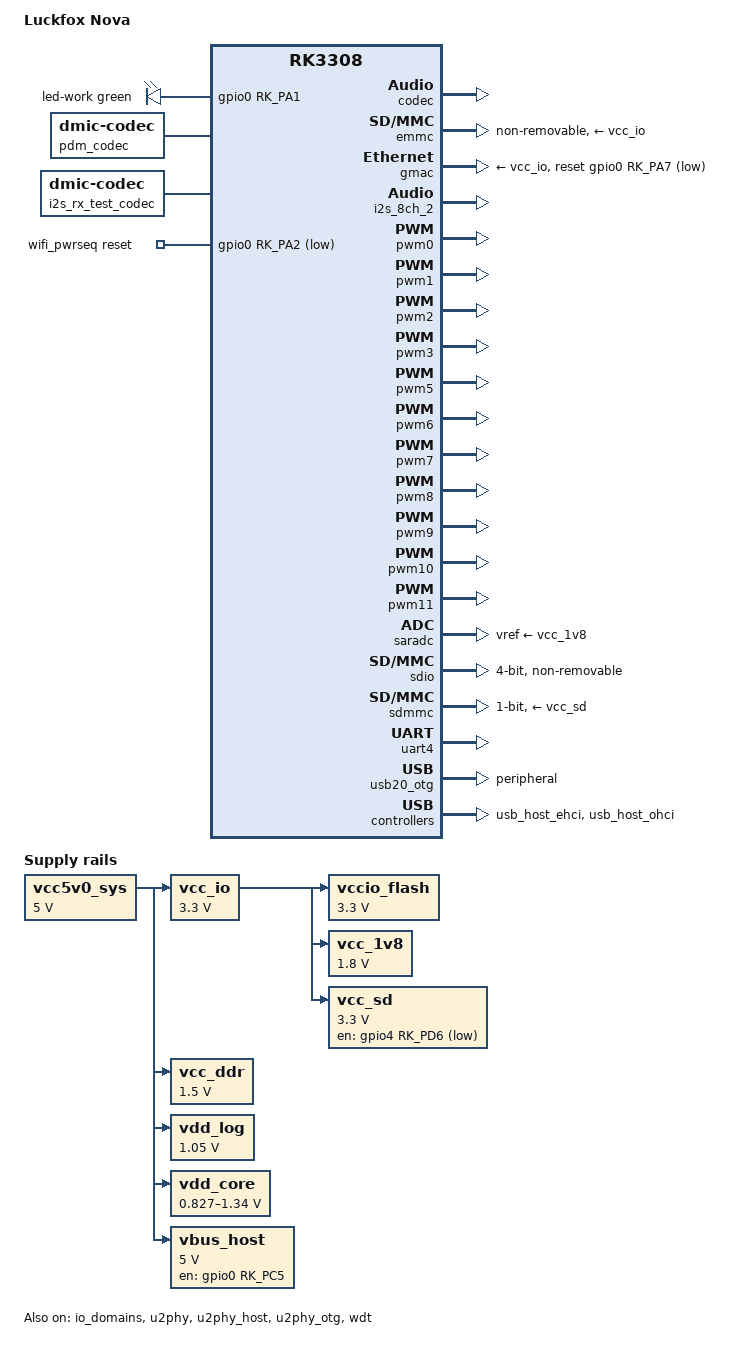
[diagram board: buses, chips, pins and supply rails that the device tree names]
// SPDX-License-Identifier: (GPL-2.0+ OR MIT)
/*
 * Luckfox Nova: RK3308B, 512MB DDR3, 8GB eMMC, 100M Ethernet (RTL8201F),
 * USB-C OTG + USB-A host, microSD. Debug console is UART4 (ttyS4).
 */

/dts-v1/;

#include <dt-bindings/leds/common.h>
#include "rk3308.dtsi"

/ {
	model = "Luckfox Nova";
	compatible = "luckfox,nova", "rockchip,rk3308";

	aliases {
		ethernet0 = &gmac;
		mmc0 = &emmc;
		mmc1 = &sdmmc;
	};

	chosen {
		stdout-path = "serial4:1500000n8";
	};

	leds {
		compatible = "gpio-leds";
		pinctrl-names = "default";
		pinctrl-0 = <&work_led_pin>;

		led-work {
			color = <LED_COLOR_ID_GREEN>;
			function = LED_FUNCTION_HEARTBEAT;
			gpios = <&gpio0 RK_PA1 GPIO_ACTIVE_HIGH>;
			linux,default-trigger = "heartbeat";
		};
	};

	vcc5v0_sys: regulator-5v0-vcc-sys {
		compatible = "regulator-fixed";
		regulator-name = "vcc5v0_sys";
		regulator-always-on;
		regulator-boot-on;
		regulator-min-microvolt = <5000000>;
		regulator-max-microvolt = <5000000>;
	};

	vcc_io: regulator-3v3-vcc-io {
		compatible = "regulator-fixed";
		regulator-name = "vcc_io";
		regulator-always-on;
		regulator-boot-on;
		regulator-min-microvolt = <3300000>;
		regulator-max-microvolt = <3300000>;
		vin-supply = <&vcc5v0_sys>;
	};

	vccio_flash: regulator-3v3-vccio-flash {
		compatible = "regulator-fixed";
		regulator-name = "vccio_flash";
		regulator-always-on;
		regulator-boot-on;
		regulator-min-microvolt = <3300000>;
		regulator-max-microvolt = <3300000>;
		vin-supply = <&vcc_io>;
	};

	vcc_1v8: regulator-1v8-vcc {
		compatible = "regulator-fixed";
		regulator-name = "vcc_1v8";
		regulator-always-on;
		regulator-boot-on;
		regulator-min-microvolt = <1800000>;
		regulator-max-microvolt = <1800000>;
		vin-supply = <&vcc_io>;
	};

	vcc_ddr: regulator-1v5-vcc-ddr {
		compatible = "regulator-fixed";
		regulator-name = "vcc_ddr";
		regulator-always-on;
		regulator-boot-on;
		regulator-min-microvolt = <1500000>;
		regulator-max-microvolt = <1500000>;
		vin-supply = <&vcc5v0_sys>;
	};

	vdd_log: regulator-1v05-vdd-log {
		compatible = "regulator-fixed";
		regulator-name = "vdd_log";
		regulator-always-on;
		regulator-boot-on;
		regulator-min-microvolt = <1050000>;
		regulator-max-microvolt = <1050000>;
		vin-supply = <&vcc5v0_sys>;
	};

	vdd_core: regulator-vdd-core {
		compatible = "pwm-regulator";
		pwms = <&pwm0 0 5000 1>;
		pwm-supply = <&vcc5v0_sys>;
		regulator-name = "vdd_core";
		regulator-always-on;
		regulator-boot-on;
		regulator-min-microvolt = <827000>;
		regulator-max-microvolt = <1340000>;
		regulator-settling-time-up-us = <250>;
	};

	/* GPIO4_D6 must be driven low to power the microSD slot. */
	vcc_sd: regulator-3v3-vcc-sd {
		compatible = "regulator-fixed";
		gpios = <&gpio4 RK_PD6 GPIO_ACTIVE_LOW>;
		pinctrl-names = "default";
		pinctrl-0 = <&vcc_sd_en>;
		regulator-name = "vcc_sd";
		regulator-always-on;
		regulator-boot-on;
		regulator-min-microvolt = <3300000>;
		regulator-max-microvolt = <3300000>;
		vin-supply = <&vcc_io>;
	};

	vbus_host: regulator-5v0-vbus-host {
		compatible = "regulator-fixed";
		enable-active-high;
		gpios = <&gpio0 RK_PC5 GPIO_ACTIVE_HIGH>;
		pinctrl-names = "default";
		pinctrl-0 = <&usb_drv>;
		regulator-name = "vbus_host";
		regulator-always-on;
		regulator-boot-on;
		regulator-min-microvolt = <5000000>;
		regulator-max-microvolt = <5000000>;
		vin-supply = <&vcc5v0_sys>;
	};

	/* On-board analog mic + lineout via the RK3308 internal codec. */
	acodec-sound {
		compatible = "simple-audio-card";
		simple-audio-card,format = "i2s";
		simple-audio-card,name = "rockchip,rk3308-acodec";
		simple-audio-card,mclk-fs = <256>;

		simple-audio-card,cpu {
			sound-dai = <&i2s_8ch_2>;
		};

		simple-audio-card,codec {
			sound-dai = <&codec>;
		};
	};

	/*
	 * PDM digital-mic interface on the P1 header. rk3308.dtsi has the pin
	 * groups but no controller node, so define it here (Rockchip BSP values).
	 * Disabled by default - the pins are shared with i2s_8ch_0.
	 */
	pdm: pdm@ff380000 {
		compatible = "rockchip,rk3308-pdm";
		reg = <0x0 0xff380000 0x0 0x1000>;
		clocks = <&cru SCLK_PDM>, <&cru HCLK_PDM>;
		clock-names = "pdm_clk", "pdm_hclk";
		dmas = <&dmac1 12>;
		dma-names = "rx";
		resets = <&cru SRST_PDM_M>;
		reset-names = "pdm-m";
		pinctrl-names = "default";
		pinctrl-0 = <&pdm_m2_clk &pdm_m2_sdi0 &pdm_m2_sdi1
			     &pdm_m2_sdi2 &pdm_m2_sdi3>;
		#sound-dai-cells = <0>;
		status = "disabled";
	};

	pdm_codec: pdm-codec {
		compatible = "dmic-codec";
		#sound-dai-cells = <0>;
	};

	sound_pdm: sound-pdm {
		compatible = "simple-audio-card";
		simple-audio-card,name = "pdm-mics";
		status = "disabled";

		simple-audio-card,cpu {
			sound-dai = <&pdm>;
		};

		simple-audio-card,codec {
			sound-dai = <&pdm_codec>;
		};
	};

	/*
	 * I2S (i2s_8ch_0) on the P1 header. rk3308.dtsi has the pin groups but no
	 * controller node, so define it here (vendor BSP + the mainline i2s_8ch_2
	 * binding). Disabled by default; shares pins with PDM (mutually exclusive).
	 */
	i2s_8ch_0: i2s@ff300000 {
		compatible = "rockchip,rk3308-i2s-tdm";
		reg = <0x0 0xff300000 0x0 0x1000>;
		interrupts = <GIC_SPI 48 IRQ_TYPE_LEVEL_HIGH>;
		clock-names = "mclk_tx", "mclk_rx", "hclk";
		clocks = <&cru SCLK_I2S0_8CH_TX>,
			 <&cru SCLK_I2S0_8CH_RX>,
			 <&cru HCLK_I2S0_8CH>;
		dmas = <&dmac1 0>, <&dmac1 1>;
		dma-names = "tx", "rx";
		resets = <&cru SRST_I2S0_8CH_TX_M>, <&cru SRST_I2S0_8CH_RX_M>;
		reset-names = "tx-m", "rx-m";
		rockchip,grf = <&grf>;
		pinctrl-names = "default";
		pinctrl-0 = <&i2s_8ch_0_sclktx &i2s_8ch_0_lrcktx
			     &i2s_8ch_0_sdo0 &i2s_8ch_0_sdi0>;
		#sound-dai-cells = <0>;
		status = "disabled";
	};

	/*
	 * I2S RX capture: a simple-audio-card on i2s_8ch_0 with a dmic-codec, to
	 * record an external I2S master. Disabled by default; `novaconfig i2s_rx`
	 * enables it, switches i2s_8ch_0 to its RX clock pins, and frees those
	 * pins from the header PWMs.
	 */
	i2s_rx_test_codec: i2s-rx-test-codec {
		compatible = "dmic-codec";
		#sound-dai-cells = <0>;
	};

	sound-i2s-rx-test {
		compatible = "simple-audio-card";
		simple-audio-card,name = "i2s-rx-test";
		simple-audio-card,format = "i2s";
		simple-audio-card,bitclock-master = <&i2s_rx_test_link_codec>;
		simple-audio-card,frame-master = <&i2s_rx_test_link_codec>;
		status = "disabled";

		simple-audio-card,cpu {
			sound-dai = <&i2s_8ch_0>;
		};

		i2s_rx_test_link_codec: simple-audio-card,codec {
			sound-dai = <&i2s_rx_test_codec>;
		};
	};

	/*
	 * Nova W: power sequence for the on-board AIC8800DC SDIO WiFi.
	 * WL_REG_ON = GPIO0_A2; mmc-pwrseq deasserts it at SDIO power-up so
	 * the chip enumerates on &sdio. Harmless on a plain Nova (no module).
	 */
	wifi_pwrseq: wifi-pwrseq {
		compatible = "mmc-pwrseq-simple";
		pinctrl-names = "default";
		pinctrl-0 = <&wifi_reg_on>;
		reset-gpios = <&gpio0 RK_PA2 GPIO_ACTIVE_LOW>;
		post-power-on-delay-ms = <200>;
	};
};

&codec {
	#sound-dai-cells = <0>;
	status = "okay";
};

&cpu0 {
	cpu-supply = <&vdd_core>;
};

&emmc {
	cap-mmc-highspeed;
	mmc-hs200-1_8v;
	no-sd;
	no-sdio;
	non-removable;
	pinctrl-names = "default";
	pinctrl-0 = <&emmc_bus8 &emmc_clk &emmc_cmd &emmc_pwren>;
	vmmc-supply = <&vcc_io>;
	status = "okay";
};

/*
 * Mirror the vendor DTS: bus-level PHY reset and no phy-handle, so stmmac
 * scans the MDIO bus instead of assuming the PHY address.
 */
&gmac {
	clock_in_out = "output";
	phy-supply = <&vcc_io>;
	snps,reset-gpio = <&gpio0 RK_PA7 GPIO_ACTIVE_LOW>;
	snps,reset-active-low;
	snps,reset-delays-us = <0 50000 50000>;
	status = "okay";
};

/* Internally wired to the audio codec. */
&i2s_8ch_2 {
	#sound-dai-cells = <0>;
	status = "okay";
};

&io_domains {
	vccio0-supply = <&vcc_io>;
	vccio1-supply = <&vcc_io>;
	vccio2-supply = <&vcc_io>;
	vccio3-supply = <&vccio_flash>;
	vccio4-supply = <&vcc_1v8>;
	vccio5-supply = <&vcc_io>;
	status = "okay";
};

&pinctrl {
	pinctrl-names = "default";
	pinctrl-0 = <&rtc_32k>;

	leds {
		work_led_pin: work-led-pin {
			rockchip,pins = <0 RK_PA1 RK_FUNC_GPIO &pcfg_pull_none>;
		};
	};

	sdmmc {
		vcc_sd_en: vcc-sd-en {
			rockchip,pins = <4 RK_PD6 RK_FUNC_GPIO &pcfg_pull_none>;
		};
	};

	usb {
		usb_drv: usb-drv {
			rockchip,pins = <0 RK_PC5 RK_FUNC_GPIO &pcfg_pull_none>;
		};
	};

	wifi {
		wifi_reg_on: wifi-reg-on {
			rockchip,pins = <0 RK_PA2 RK_FUNC_GPIO &pcfg_pull_none>;
		};
	};
};

&pwm0 {
	pinctrl-names = "default";
	pinctrl-0 = <&pwm0_pin_pull_down>;
	status = "okay";
};

/*
 * Header PWMs. Not enabled: pwm0 drives vdd_core (above), pwm4 shares
 * GPIO0_A1 with the work LED.
 */
&pwm1 {
	status = "okay";
};

&pwm2 {
	status = "okay";
};

&pwm3 {
	status = "okay";
};

&pwm5 {
	status = "okay";
};

&pwm6 {
	status = "okay";
};

&pwm7 {
	status = "okay";
};

&pwm8 {
	status = "okay";
};

&pwm9 {
	status = "okay";
};

&pwm10 {
	status = "okay";
};

&pwm11 {
	status = "okay";
};

&saradc {
	vref-supply = <&vcc_1v8>;
	status = "okay";
};

/*
 * Only DAT0 is usable on this board: with two different cards, 4-bit data
 * transfers fail on every access (U-Boot gets a Start Bit Error on the first
 * 4-bit read, Linux gets I/O errors on every sector) while 1-bit works at SD
 * High Speed. Treat the slot as 1-bit wired.
 */
/* Nova W: AIC8800DC SDIO WiFi on the dedicated SDIO controller. */
&sdio {
	bus-width = <4>;
	cap-sd-highspeed;
	cap-sdio-irq;
	keep-power-in-suspend;
	max-frequency = <50000000>;
	mmc-pwrseq = <&wifi_pwrseq>;
	no-mmc;
	no-sd;
	non-removable;
	sd-uhs-sdr50;
	supports-sdio;
	#address-cells = <1>;
	#size-cells = <0>;
	status = "okay";
};

&sdmmc {
	broken-cd;
	bus-width = <1>;
	cap-mmc-highspeed;
	cap-sd-highspeed;
	disable-wp;
	max-frequency = <50000000>;
	vmmc-supply = <&vcc_sd>;
	status = "okay";
};

&u2phy {
	status = "okay";
};

&u2phy_host {
	phy-supply = <&vbus_host>;
	status = "okay";
};

&u2phy_otg {
	status = "okay";
};

/* Plain 115200..1500000n8 console on ttyS4; CTS/RTS are not wired for it. */
&uart4 {
	pinctrl-names = "default";
	pinctrl-0 = <&uart4_xfer>;
	status = "okay";
};

&usb20_otg {
	dr_mode = "peripheral";
	status = "okay";
};

&usb_host_ehci {
	status = "okay";
};

&usb_host_ohci {
	status = "okay";
};

&wdt {
	status = "okay";
};
